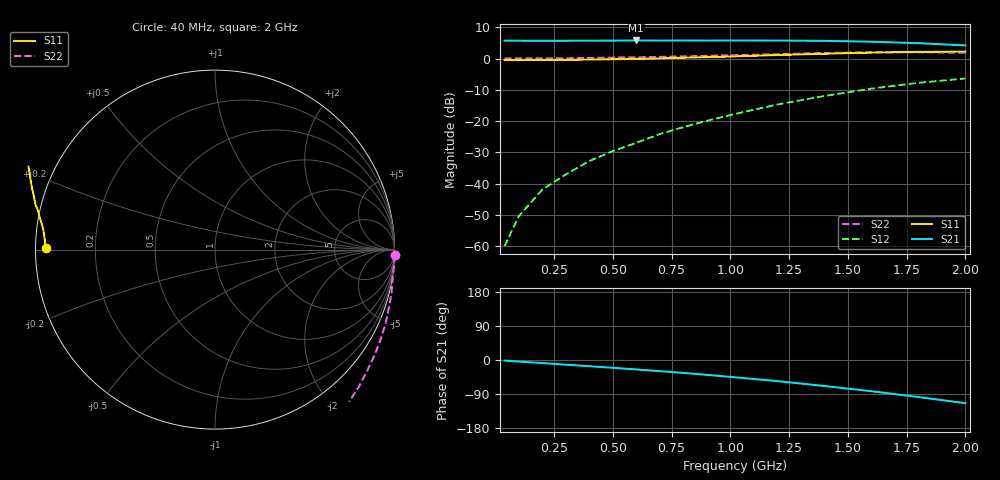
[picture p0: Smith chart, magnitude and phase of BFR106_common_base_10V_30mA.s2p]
! Filename:  BFR106CF.S2P  Version:  2.0
! Philips part #: BFR106  Date: Jul 1990
! Bias condition: Vce=10V, Ic=30mA
! COMMON BASE
#  MHz  S  MA  R  50
! Freq  S11  S21  S12  S22
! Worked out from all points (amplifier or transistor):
!   16 points, 40 MHz to 2 GHz, reference 50 ohm
!   highest |S21| = 5.8 dB at 600 MHz (marker M1)
!   |S21| within 3 dB of that: start of sweep to end of sweep
!   unconditionally stable (mu >= 1): nowhere
!   at 200 MHz: K = -0.49, MSG = 23.8 dB, |S12| = -41.9 dB
!   at 800 MHz: K = -0.91, MSG = 13.9 dB, |S12| = -21.9 dB
!   at 2 GHz: K = -0.80, MSG = 5.3 dB, |S12| = -6.4 dB
40  0.944 179.5  1.929 -1.5  0.001 58.3  1.001 -1.8
100  0.946 178.1  1.928 -4.2  0.003 97.3  1.002 -4.5
200  0.95 176.8  1.926 -8.1  0.008 116.5  1.002 -9.0
300  0.955 175.2  1.927 -12.3  0.014 129.4  1.013 -13.8
400  0.963 173.4  1.933 -16.4  0.023 134.5  1.021 -18.3
500  0.974 171.8  1.937 -20.5  0.033 136.5  1.035 -23.2
600  0.99 169.9  1.947 -24.9  0.045 138.1  1.048 -27.9
700  1.007 167.9  1.941 -29.4  0.062 138.7  1.064 -32.9
800  1.032 165.8  1.945 -34.0  0.08 138.4  1.082 -38.1
900  1.052 163.6  1.942 -39.2  0.101 137.0  1.107 -43.5
1000  1.078 161.2  1.946 -44.5  0.125 135.1  1.129 -48.6
1200  1.138 156.0  1.942 -55.7  0.184 129.9  1.174 -60.3
1400  1.193 149.5  1.919 -68.6  0.252 123.2  1.228 -72.5
1600  1.245 142.0  1.859 -82.4  0.33 115.7  1.259 -85.9
1800  1.28 133.8  1.763 -97.8  0.409 106.5  1.264 -100.1
2000  1.292 125.7  1.625 -113.9  0.48 97.4  1.243 -114.7
